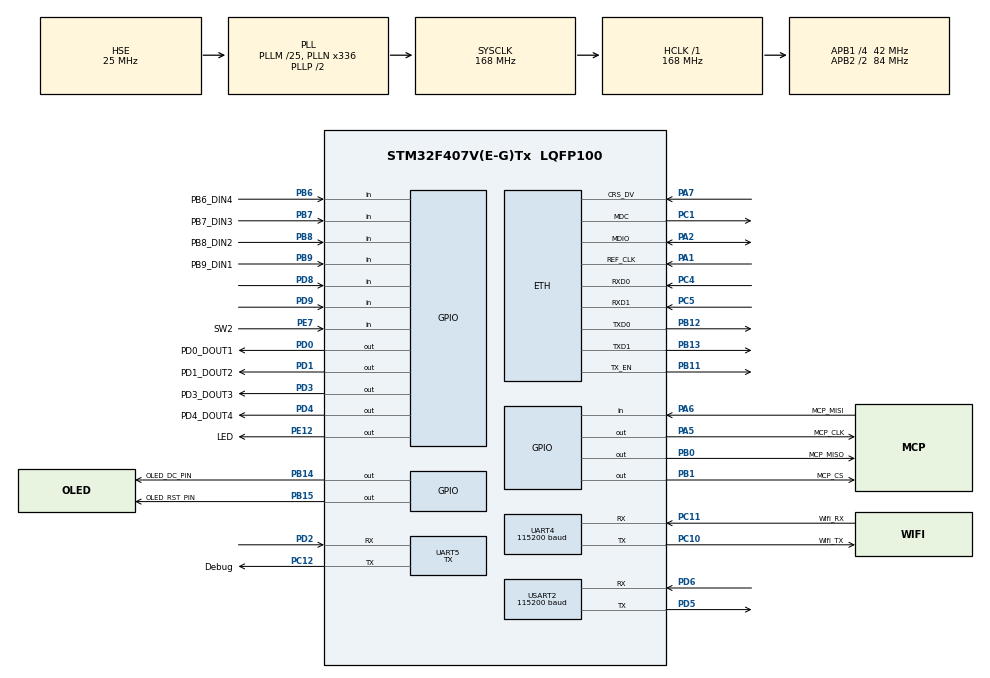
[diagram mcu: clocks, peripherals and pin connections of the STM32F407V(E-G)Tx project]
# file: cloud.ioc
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Dma.Request0=UART4_RX
Dma.Request1=USART2_RX
Dma.UART4_RX.0.Direction=DMA_PERIPH_TO_MEMORY
Dma.UART4_RX.0.FIFOMode=DMA_FIFOMODE_DISABLE
Dma.UART4_RX.0.Instance=DMA1_Stream2
Dma.UART4_RX.0.MemDataAlignment=DMA_MDATAALIGN_BYTE
Dma.UART4_RX.0.MemInc=DMA_MINC_ENABLE
Dma.UART4_RX.0.Mode=DMA_NORMAL
Dma.UART4_RX.0.PeriphDataAlignment=DMA_PDATAALIGN_BYTE
Dma.UART4_RX.0.PeriphInc=DMA_PINC_DISABLE
Dma.UART4_RX.0.Priority=DMA_PRIORITY_LOW
Dma.USART2_RX.1.Direction=DMA_PERIPH_TO_MEMORY
Dma.USART2_RX.1.FIFOMode=DMA_FIFOMODE_DISABLE
Dma.USART2_RX.1.Instance=DMA1_Stream5
Dma.USART2_RX.1.MemDataAlignment=DMA_MDATAALIGN_BYTE
Dma.USART2_RX.1.MemInc=DMA_MINC_ENABLE
Dma.USART2_RX.1.Mode=DMA_NORMAL
Dma.USART2_RX.1.PeriphDataAlignment=DMA_PDATAALIGN_BYTE
Dma.USART2_RX.1.PeriphInc=DMA_PINC_DISABLE
Dma.USART2_RX.1.Priority=DMA_PRIORITY_LOW
ETH.MediaInterface=ETH_MEDIA_INTERFACE_RMII
ETH.PHY_Name_RMII=DP83848_PHY_ADDRESS
ETH.PHY_READ_TO=0x0FFFFFFF
ETH.PHY_WRITE_TO=0x0FFFFFFF
ETH.RxMode=ETH_RXINTERRUPT_MODE
FREERTOS.Tasks01=startupTask,8,2256,StartupTask,Default,NULL,Dynamic,NULL,NULL
FREERTOS.configTOTAL_HEAP_SIZE=0xC100
FREERTOS.configUSE_IDLE_HOOK=1
FREERTOS.configUSE_NEWLIB_REENTRANT=1
FREERTOS.configUSE_TICK_HOOK=1
IWDG.Prescaler=IWDG_PRESCALER_256
LWIP.GATEWAY_ADDRESS=192.168.003.001
LWIP.IP_ADDRESS=192.168.003.110
LWIP.LWIP_DHCP=0
LWIP.LWIP_NETIF_EXT_STATUS_CALLBACK=0
LWIP.LWIP_NETIF_LOOPBACK=1
LWIP.LWIP_NETIF_STATUS_CALLBACK=0
LWIP.NETMASK_ADDRESS=255.255.255.000
LWIP.Version=v2.1.2_Cube
Mcu.Family=STM32F4
Mcu.Name=STM32F407V(E-G)Tx
Mcu.Package=LQFP100
NVIC.DMA1_Stream2_IRQn=true\:5\:0\:false\:false\:true\:true\:false\:true
NVIC.DMA1_Stream5_IRQn=true\:5\:0\:false\:false\:true\:true\:false\:true
NVIC.ETH_IRQn=true\:5\:0\:false\:false\:true\:true\:false\:true
NVIC.PriorityGroup=NVIC_PRIORITYGROUP_4
NVIC.TIM1_UP_TIM10_IRQn=true\:0\:0\:false\:false\:true\:false\:false\:true
NVIC.TIM4_IRQn=true\:5\:0\:false\:false\:true\:true\:true\:true
NVIC.TIM7_IRQn=true\:5\:0\:false\:false\:true\:true\:true\:true
NVIC.TimeBase=TIM1_UP_TIM10_IRQn
NVIC.TimeBaseIP=TIM1
NVIC.UART4_IRQn=true\:5\:0\:true\:false\:true\:true\:true\:false
NVIC.USART2_IRQn=true\:5\:0\:false\:false\:true\:true\:true\:true
PA1.Mode=RMII
PA1.Signal=ETH_REF_CLK
PA13.Mode=Serial_Wire
PA13.Signal=SYS_JTMS-SWDIO
PA14.Mode=Serial_Wire
PA14.Signal=SYS_JTCK-SWCLK
PA2.Mode=RMII
PA2.Signal=ETH_MDIO
PA5.GPIO_Label=MCP_CLK
PA5.Signal=GPIO_Output
PA6.GPIO_Label=MCP_MISI
PA6.Signal=GPIO_Input
PA7.Mode=RMII
PA7.Signal=ETH_CRS_DV
PB0.GPIO_Label=MCP_MISO
PB0.Signal=GPIO_Output
PB1.GPIO_Label=MCP_CS
PB1.Signal=GPIO_Output
PB11.Mode=RMII
PB11.Signal=ETH_TX_EN
PB12.Mode=RMII
PB12.Signal=ETH_TXD0
PB13.Mode=RMII
PB13.Signal=ETH_TXD1
PB14.GPIO_Label=OLED_DC_PIN
PB14.Signal=GPIO_Output
PB15.GPIO_Label=OLED_RST_PIN
PB15.Signal=GPIO_Output
PB6.GPIO_Label=PB6_DIN4
PB6.Signal=GPIO_Input
PB7.GPIO_Label=PB7_DIN3
PB7.Signal=GPIO_Input
PB8.GPIO_Label=PB8_DIN2
PB8.Signal=GPIO_Input
PB9.GPIO_Label=PB9_DIN1
PB9.Signal=GPIO_Input
PC1.Mode=RMII
PC1.Signal=ETH_MDC
PC10.GPIO_Label=Wifi_TX
PC10.Mode=Asynchronous
PC10.Signal=UART4_TX
PC11.GPIO_Label=Wifi_RX
PC11.Mode=Asynchronous
PC11.Signal=UART4_RX
PC12.GPIO_Label=Debug
PC12.Mode=Asynchronous
PC12.Signal=UART5_TX
PC14-OSC32_IN.Mode=LSE-External-Oscillator
PC14-OSC32_IN.Signal=RCC_OSC32_IN
PC15-OSC32_OUT.Mode=LSE-External-Oscillator
PC15-OSC32_OUT.Signal=RCC_OSC32_OUT
PC4.Mode=RMII
PC4.Signal=ETH_RXD0
PC5.Mode=RMII
PC5.Signal=ETH_RXD1
PD0.GPIO_Label=PD0_DOUT1
PD0.GPIO_PuPd=GPIO_PULLDOWN
PD0.PinState=GPIO_PIN_SET
PD0.Signal=GPIO_Output
PD1.GPIO_Label=PD1_DOUT2
PD1.GPIO_PuPd=GPIO_PULLDOWN
PD1.PinState=GPIO_PIN_SET
PD1.Signal=GPIO_Output
PD2.Mode=Asynchronous
PD2.Signal=UART5_RX
PD3.GPIO_Label=PD3_DOUT3
PD3.GPIO_PuPd=GPIO_PULLDOWN
PD3.PinState=GPIO_PIN_SET
PD3.Signal=GPIO_Output
PD4.GPIO_Label=PD4_DOUT4
PD4.GPIO_PuPd=GPIO_PULLDOWN
PD4.PinState=GPIO_PIN_SET
PD4.Signal=GPIO_Output
PD5.GPIO_PuPd=GPIO_NOPULL
PD5.Mode=Asynchronous
PD5.Signal=USART2_TX
PD6.GPIO_PuPd=GPIO_NOPULL
PD6.Mode=Asynchronous
PD6.Signal=USART2_RX
PD8.GPIO_Mode=GPIO_MODE_INPUT
PD8.Signal=GPIO_Input
PD9.GPIO_Mode=GPIO_MODE_INPUT
PD9.Signal=GPIO_Input
PE12.GPIO_Label=LED
PE12.PinState=GPIO_PIN_SET
PE12.Signal=GPIO_Output
PE7.GPIO_Label=SW2
PE7.GPIO_PuPd=GPIO_PULLUP
PE7.Signal=GPIO_Input
PH0-OSC_IN.Mode=HSE-External-Oscillator
PH0-OSC_IN.Signal=RCC_OSC_IN
PH1-OSC_OUT.Mode=HSE-External-Oscillator
PH1-OSC_OUT.Signal=RCC_OSC_OUT
ProjectManager.HeapSize=0x400
ProjectManager.StackSize=0x600
ProjectManager.TargetToolchain=STM32CubeIDE
RCC.48MHZClocksFreq_Value=84000000
RCC.AHBFreq_Value=168000000
RCC.APB1CLKDivider=RCC_HCLK_DIV4
RCC.APB1Freq_Value=42000000
RCC.APB1TimFreq_Value=84000000
RCC.APB2CLKDivider=RCC_HCLK_DIV2
RCC.APB2Freq_Value=84000000
RCC.APB2TimFreq_Value=168000000
RCC.CortexFreq_Value=168000000
RCC.EnbaleCSS=true
RCC.HCLKFreq_Value=168000000
RCC.HSE_VALUE=25000000
RCC.HSI_VALUE=16000000
RCC.PLLM=25
RCC.PLLN=336
RCC.PLLSourceVirtual=RCC_PLLSOURCE_HSE
RCC.RCC_RTC_Clock_SourceVirtual=RCC_RTCCLKSOURCE_LSE
RCC.SYSCLKFreq_VALUE=168000000
RCC.SYSCLKSource=RCC_SYSCLKSOURCE_PLLCLK
RCC.VCOOutputFreq_Value=336000000
RTC.Date=28
RTC.Format=RTC_FORMAT_BCD
RTC.Hours=9
RTC.Minutes=44
RTC.Month=RTC_MONTH_OCTOBER
RTC.StoreOperation=RTC_STOREOPERATION_SET
RTC.WeekDay=RTC_WEEKDAY_THURSDAY
RTC.Year=21
TIM4.AutoReloadPreload=TIM_AUTORELOAD_PRELOAD_ENABLE
TIM4.Period=199
TIM4.Prescaler=8399
TIM7.Period=999
TIM7.Prescaler=8399
UART4.BaudRate=115200
UART4.VirtualMode=Asynchronous
UART5.Mode=MODE_TX
UART5.VirtualMode=Asynchronous
USART2.BaudRate=115200
USART2.VirtualMode=VM_ASYNC
VP_FREERTOS_VS_CMSIS_V2.Mode=CMSIS_V2
VP_IWDG_VS_IWDG.Mode=IWDG_Activate
VP_LWIP_VS_Enabled.Mode=Enabled
VP_RTC_VS_RTC_Activate.Mode=RTC_Enabled
VP_RTC_VS_RTC_Calendar.Mode=RTC_Calendar
VP_SYS_VS_tim1.Mode=TIM1
VP_TIM4_VS_ClockSourceINT.Mode=Internal
VP_TIM7_VS_ClockSourceINT.Mode=Enable_Timer
board=custom

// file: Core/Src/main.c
/* USER CODE BEGIN Header */
/**
  ******************************************************************************
  * @file           : main.c
  * @brief          : Main program body
  ******************************************************************************
  * @attention
  *
  * <h2><center>&copy; Copyright (c) 2021 STMicroelectronics.
  * All rights reserved.</center></h2>
  *
  * This software component is licensed by ST under BSD 3-Clause license,
  * the "License"; You may not use this file except in compliance with the
  * License. You may obtain a copy of the License at:
  *                        opensource.org/licenses/BSD-3-Clause
  *
  ******************************************************************************
  */
/* USER CODE END Header */
#include "main.h"
#include "cmsis_os.h"
#include "dma.h"
#include "iwdg.h"
#include "lwip.h"
#include "rtc.h"
#include "tim.h"
#include "usart.h"
#include "gpio.h"

/* USER CODE BEGIN Includes */
#include "boardConfig.h"
#include "dataCollector.h"
#include <string.h>
#include "flash.h"
#include "FreeRTOS.h"
#include "task.h"
#include "semphr.h"
#include "sd2078.h"
/* USER CODE END Includes */

/* USER CODE BEGIN PV */
char   log_msg_global[256];         //存放log信息的全�???????????????????????????数组
char speed_value[4];
int rs485_rec_flag;
extern SemaphoreHandle_t  xUploadLogSemaphore;

/* USER CODE END PV */

void SystemClock_Config(void);
void MX_FREERTOS_Init(void);

int main(void)
{

  /* MCU Configuration--------------------------------------------------------*/

  /* Reset of all peripherals, Initializes the Flash interface and the Systick. */
  HAL_Init();

  /* Configure the system clock */
  SystemClock_Config();

  /* USER CODE BEGIN SysInit */
  MX_DMA_Init();  //在串口之后初始化会接收失�???????????????????????
  /* USER CODE END SysInit */

  /* Initialize all configured peripherals */
  MX_GPIO_Init();
  MX_UART5_Init();
  MX_RTC_Init();
  MX_TIM4_Init();
  MX_UART4_Init();
  MX_USART2_UART_Init();
  MX_DMA_Init();
  MX_TIM7_Init();
  /* USER CODE BEGIN 2 */
  if (isFirstBoot())
  {
	LoadDefaultConfig();
  }
  /* USER CODE END 2 */

  /* Init scheduler */
  osKernelInitialize();  /* Call init function for freertos objects (in freertos.c) */
  MX_FREERTOS_Init();
  /* Start scheduler */
  osKernelStart();

  /* We should never get here as control is now taken by the scheduler */
  /* Infinite loop */
  while (1)
  {

  }
}

void SystemClock_Config(void)
{
  RCC_OscInitTypeDef RCC_OscInitStruct = {0};
  RCC_ClkInitTypeDef RCC_ClkInitStruct = {0};

  /** Configure the main internal regulator output voltage
  */
  __HAL_RCC_PWR_CLK_ENABLE();
  __HAL_PWR_VOLTAGESCALING_CONFIG(PWR_REGULATOR_VOLTAGE_SCALE1);
  /** Initializes the RCC Oscillators according to the specified parameters
  * in the RCC_OscInitTypeDef structure.
  */
  RCC_OscInitStruct.OscillatorType = RCC_OSCILLATORTYPE_LSI|RCC_OSCILLATORTYPE_HSE
                              |RCC_OSCILLATORTYPE_LSE;
  RCC_OscInitStruct.HSEState = RCC_HSE_ON;
  RCC_OscInitStruct.LSEState = RCC_LSE_ON;
  RCC_OscInitStruct.LSIState = RCC_LSI_ON;
  RCC_OscInitStruct.PLL.PLLState = RCC_PLL_ON;
  RCC_OscInitStruct.PLL.PLLSource = RCC_PLLSOURCE_HSE;
  RCC_OscInitStruct.PLL.PLLM = 25;
  RCC_OscInitStruct.PLL.PLLN = 336;
  RCC_OscInitStruct.PLL.PLLP = RCC_PLLP_DIV2;
  RCC_OscInitStruct.PLL.PLLQ = 4;
  if (HAL_RCC_OscConfig(&RCC_OscInitStruct) != HAL_OK)
  {
    Error_Handler();
  }
  /** Initializes the CPU, AHB and APB buses clocks
  */
  RCC_ClkInitStruct.ClockType = RCC_CLOCKTYPE_HCLK|RCC_CLOCKTYPE_SYSCLK
                              |RCC_CLOCKTYPE_PCLK1|RCC_CLOCKTYPE_PCLK2;
  RCC_ClkInitStruct.SYSCLKSource = RCC_SYSCLKSOURCE_PLLCLK;
  RCC_ClkInitStruct.AHBCLKDivider = RCC_SYSCLK_DIV1;
  RCC_ClkInitStruct.APB1CLKDivider = RCC_HCLK_DIV4;
  RCC_ClkInitStruct.APB2CLKDivider = RCC_HCLK_DIV2;

  if (HAL_RCC_ClockConfig(&RCC_ClkInitStruct, FLASH_LATENCY_5) != HAL_OK)
  {
    Error_Handler();
  }
  /** Enables the Clock Security System
  */
  HAL_RCC_EnableCSS();
}

/* USER CODE BEGIN 4 */

void printfInfo(void)
{
	printf("mac:%s\r\n", config.mac_info.mac_name);
	printf("serverip:%d.%d.%d.%d	port:%d\r\n", config.server_ip.ip_cfg[0],
												  config.server_ip.ip_cfg[1],
												  config.server_ip.ip_cfg[2],
												  config.server_ip.ip_cfg[3],
												  config.server_ip.server_port_cfg);
	printf("A10 range: %lf   A10 type: %d\r\n", config.analog_info.a10_range, config.analog_info.a10_type);
	printf("A11 range: %lf   A11 type: %d\r\n", config.analog_info.a11_range, config.analog_info.a11_type);
	printf("A20 range: %lf   A20 type: %d\r\n", config.analog_info.a20_range, config.analog_info.a20_type);
	printf("A21 range: %lf   A21 type: %d\r\n", config.analog_info.a21_range, config.analog_info.a21_type);

	printf("A30 range: %lf   A30 type: %d\r\n", config.analog_info.a30_range, config.analog_info.a30_type);
	printf("A31 range: %lf   A31 type: %d\r\n", config.analog_info.a31_range, config.analog_info.a31_type);
	printf("A40 range: %lf   A40 type: %d\r\n", config.analog_info.a40_range, config.analog_info.a40_type);
	printf("A41 range: %lf   A41 type: %d\r\n", config.analog_info.a41_range, config.analog_info.a41_type);
}

/* USER CODE END 4 */

void HAL_TIM_PeriodElapsedCallback(TIM_HandleTypeDef *htim)
{
  /* USER CODE BEGIN Callback 0 */
//	static uint8_t s_count;
  static uint8_t ucLocalTickCount = 0;
  static BaseType_t xHigherPriorityTaskWoken;
  uint8_t Tx_buf[8] = {0x55,0x06,0x00,0x00,0x00,0x00,0x88,0xAA};
  /* USER CODE END Callback 0 */
  if (htim->Instance == TIM1) {
    HAL_IncTick();
  }
  /* USER CODE BEGIN Callback 1 */
  if (htim->Instance == TIM4)
  {
    collectDataHandler();
  }

  if (htim->Instance == TIM7)
  {
    if (ucLocalTickCount++ >= 40)
    {
	  //该上传一次日志了
	  xSemaphoreGiveFromISR(xUploadLogSemaphore, &xHigherPriorityTaskWoken);
	  ucLocalTickCount = 0;
	}
  }
  /* USER CODE END Callback 1 */
}

void Error_Handler(void)
{
  __disable_irq();
  while (1)
  {
  }
}

/************************ (C) COPYRIGHT STMicroelectronics *****END OF FILE****/

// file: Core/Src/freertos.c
/* USER CODE BEGIN Header */
/**
  ******************************************************************************
  * File Name          : freertos.c
  * Description        : Code for freertos applications
  ******************************************************************************
  * @attention
  *
  * <h2><center>&copy; Copyright (c) 2021 STMicroelectronics.
  * All rights reserved.</center></h2>
  *
  * This software component is licensed by ST under Ultimate Liberty license
  * SLA0044, the "License"; You may not use this file except in compliance with
  * the License. You may obtain a copy of the License at:
  *                             www.st.com/SLA0044
  *
  ******************************************************************************
  */
/* USER CODE END Header */

#include "FreeRTOS.h"
#include "task.h"
#include "main.h"
#include "cmsis_os.h"

/* USER CODE BEGIN Includes */
#include <stdio.h>
#include "task.h"
#include "queue.h"
#include "tim.h"
#include "oled.h"
#include "MCP3208.h"
#include "rtc.h"
#include "usart.h"
#include "semphr.h"
#include "boardConfig.h"
#include "display.h"
#include "rs485.h"
#include "tcpServer.h"
#include "cJSON.h"
#include "ring_fifo.h"
#include "DigitIO.h"
#include "logQueue.h"
#include <string.h>
#include "sd2078.h"
#include "cpu_utils.h"
#include "flash.h"
#include "Temperature.h"
/* USER CODE END Includes */

/* USER CODE BEGIN PD */
#define CONFIG_KEY_DOWN()                    !HAL_GPIO_ReadPin(GPIOE, GPIO_PIN_7)
#define CONFIG_KEY_UP()                       HAL_GPIO_ReadPin(GPIOE, GPIO_PIN_7)

/* USER CODE END PD */

/* USER CODE BEGIN Variables */

DEVICE_CONFIG  config;

TaskHandle_t   setZeroTaskHandle;
TaskHandle_t   logUploadTaskHandle;       //日志任务句柄
TaskHandle_t   daemonTaskHandle;          // led任务句柄
TaskHandle_t   tcpServerTaskHandle;       //modbus tcp 任务句柄
TaskHandle_t   wifiClientTaskHandle;
TaskHandle_t   rs485TaskHandle;           //rs485任务句柄
TaskHandle_t   taskHeapDetectTaskHandle;  //

extern      uint8_t        config_buff[100];

/* USER CODE END Variables */
/* Definitions for startupTask */
osThreadId_t startupTaskHandle;
const osThreadAttr_t startupTask_attributes = {
  .name = "startupTask",
  .stack_size = 2256 * 4,
  .priority = (osPriority_t) osPriorityLow,
};

/* USER CODE BEGIN FunctionPrototypes */

void daemonTask(void *pvParameters);
void taskHeapDetectTask(void *pvParameters);

/* USER CODE END FunctionPrototypes */

void StartupTask(void *argument);

extern void MX_LWIP_Init(void);
void MX_FREERTOS_Init(void); /* (MISRA C 2004 rule 8.1) */

/* Hook prototypes */
void vApplicationIdleHook(void);
void vApplicationTickHook(void);

void MX_FREERTOS_Init(void) {

  /* Create the thread(s) */
  /* creation of startupTask */
  startupTaskHandle = osThreadNew(StartupTask, NULL, &startupTask_attributes);

}

/* USER CODE BEGIN Header_StartupTask */
static unsigned char isConfigMode(void)
{
	char i=0;
	while(CONFIG_KEY_DOWN())
	{
		vTaskDelay(pdMS_TO_TICKS(100));//100ms
		if(++i > 20)return 1;
	}
	return 0;
}

static void configMode()
{
	if (isConfigMode())
	{
		printf("---------------------------------------\r\n");
		printf("config mode: \r\n1.Please use usb2ttl tool, send config to uart4, Baud rate is 115200bit/s\r\n");
		printf("example:\r\n");
		printf("set eth send:\r\n{\"IP:192.168.1.49;PORT:502;NETMASK:255.255.255.0;GATEWAY:192.168.1.1;\"}\r\n");
		printf("set wifi send:\r\n{\"wifi_ip:192.168.1.110;wifi_sip:192.168.1.101;wifi_port:4110;\"}\r\n");
		printf("set analog A10 send:\r\n{\"A10 range:500;A10 type:0\"}\r\n");
		printf("set analog A11 send:\r\n{\"A11 range:400;A11 type:0\"}\r\n");
		printf("set analog A20 send:\r\n{\"A20 range:300;A20 type:0\"}\r\n");
		printf("set analog A21 send:\r\n{\"A21 range:200;A21 type:0\"}\r\n");
		printf("set analog A30 send:\r\n{\"A30 range:100;A30 type:0\"}\r\n");
		printf("set analog A31 send:\r\n{\"A31 range:90;A31 type:0\"}\r\n");
		printf("set analog A40 send:\r\n{\"A40 range:80;A40 type:0\"}\r\n");
		printf("set analog A41 send:\r\n{\"A41 range:70;A41 type:0\"}\r\n");

		while(1)
		{
	        if(uart4_recv_end_flag ==1)                                           //uart4_recv_end_flag 结束标志
	        {
				printf("uart4_rx_len = %d\r\n",uart4_rx_len);                    //uart4_rx_len 此次接收到了多少数据

				configRecv(uart4_rx_buffer, uart4_rx_len);
				configHandler(config_buff);
				uart4_rx_len=0;
				uart4_recv_end_flag=0;
				HAL_UART_Receive_DMA(&huart4, uart4_rx_buffer, UART4_BUF_SIZE);//这句放if里面还是外面�??????????
	        }
		}
	}
}

/**
  * @brief  Function implementing the startupTask thread.
  * @param  argument: Not used
  * @retval None
  */
/* USER CODE END Header_StartupTask */
void StartupTask(void *argument)
{
  /* init code for LWIP */
  MX_LWIP_Init();
  /* USER CODE BEGIN StartupTask */
    BaseType_t  ret;

    initLogQueue();

    init_iic();

    initMCP();

    USER_RTC_Init();

#if LOG_PRINTF_DEF
    LogPrint("StartupTask start");
#else
    printf("StartupTask start\r\n");
#endif

    initMachineStatus(readConfig());

  	//write config or not;
    configMode();

	ret = xTaskCreate(setZeroTask, "setZeroTask", 512, NULL, 3, &setZeroTaskHandle);
	if (ret != pdTRUE)
	{
#if LOG_PRINTF_DEF
		LogPrint("setZeroTask create err\r\n");
#else
		printf("setZeroTask create err\r\n");
#endif
	}

	ret = xTaskCreate(logUploadTask, "logUploadTask", 512, NULL, 10, &logUploadTaskHandle);
	if (ret != pdTRUE)
	{
#if LOG_PRINTF_DEF
		LogPrint("logUploadTask create err\r\n");
#else
		printf("logUploadTask create err\r\n");
#endif
	}

	ret = xTaskCreate(daemonTask, "daemonTask", 512, NULL, 2, &daemonTaskHandle);
	if (ret != pdTRUE)
	{
#if LOG_PRINTF_DEF
		LogPrint("daemonTask create err");
#else
		printf("daemonTask create err\r\n");
#endif
	}

	ret = xTaskCreate(tcpServerTask, "tcpServerTask", 512, NULL, 7, &tcpServerTaskHandle);
	if (ret != pdTRUE)
	{
#if LOG_PRINTF_DEF
		LogPrint("tcpServerTask create err");
#else
		printf("tcpServerTask create err\r\n");
#endif
	}

	ret = xTaskCreate(wifiClientTask, "wifiClientTask", 512, NULL, 6, &wifiClientTaskHandle);
	if (ret != pdTRUE)
	{
#if LOG_PRINTF_DEF
		LogPrint("wifiClientTask create err");
#else
		printf("wifiClientTask create err\r\n");
#endif
	}

	ret = xTaskCreate(rs485DataHandler, "rs485DataHandler", 512, NULL, 3, &rs485TaskHandle);
	if (ret != pdTRUE)
	{
#if LOG_PRINTF_DEF
		LogPrint("rs485DataHandler task create err");
#else
		printf("rs485DataHandler task create err\r\n");
#endif
	}

	ret = xTaskCreate( taskHeapDetectTask, "taskHeapDetectTask", 512, NULL, 7, &taskHeapDetectTaskHandle);
	if (ret != pdTRUE)
	{
#if LOG_PRINTF_DEF
		LogPrint("taskHeapDetectTask create err");
#else
		printf("taskHeapDetectTask create err\r\n");
#endif
	}

  /* Infinite loop */

#if LOG_PRINTF_DEF
	LogPrint("StartupTask exit");
#else
	printf("StartupTask exit\r\n");
#endif

    osThreadExit();
  /* USER CODE END StartupTask */
}

/* USER CODE BEGIN Application */
#include "delay.h"
void daemonTask(void *pvParameters)
{
	static char cnt;

#if LOG_PRINTF_DEF
	LogPrint("daemonTask start");
#else
	printf("daemonTask start\r\n");
#endif

	while (1)
	{
		HAL_GPIO_TogglePin(GPIOE, GPIO_PIN_12);
		vTaskDelay(5000);

		if (cnt++ > 10)
		{
			cnt = 0;
			LogPrint("----daemonTask----");
		}

	}
	printf("daemonTask exit\r\n");
	vTaskDelete(NULL);
}

#define TASK_NUM 5
typedef struct{
	const char *   task_name;
	TaskHandle_t   task_handler;
}TASK_HANDLER_TAP;

//   logUploadTaskHandle;       //日志任务句柄
//   daemonTaskHandle;          // led任务句柄
//   tcpServerTaskHandle;       //modbus tcp 任务句柄
//   rs485TaskHandle;           //rs485任务句柄
void taskHeapDetectTask(void *pvParameters)
{
#if 0
	unsigned char i = 0;
	TASK_HANDLER_TAP task_handler_tap [TASK_NUM] = {
//			{"setZeroTask",        setZeroTaskHandle},
			{"logUploadTask",      logUploadTaskHandle},
			{"daemonTask",         daemonTaskHandle},
			{"tcpServerTask",      tcpServerTaskHandle},
			{"rs485Task",          rs485TaskHandle},
			{"taskHeapDetectTask", taskHeapDetectTaskHandle},
	};

	UBaseType_t task_surplus_heap = 0;
	size_t task_free_heap = 0;
//	uint16_t os_usage = 0;

#if LOG_PRINTF_DEF
	LogPrint("taskHeapDetectTask start");
#else
	printf("taskHeapDetectTask start\r\n");
#endif

	while (1)
	{
		for (i = 0; i < TASK_NUM; i++)
		{
			task_surplus_heap = uxTaskGetStackHighWaterMark(task_handler_tap[i].task_handler);
			task_free_heap    = xPortGetFreeHeapSize();
#if LOG_PRINTF_DEF

//			os_usage = osGetCPUUsage();
//			printf("RTOS CPU usage: %d%%\r\n",os_usage);

			//rtos 空闲�?????????
			snprintf(log_msg_global, sizeof(log_msg_global), "RTOS free heap: %d bytes", task_free_heap);
			LogPrint(log_msg_global);

			//各个任务空闲�?????????
			snprintf(log_msg_global, sizeof(log_msg_global), "task[%s] surplus heap: %ld bytes", task_handler_tap[i].task_name, task_surplus_heap*4);
			LogPrint(log_msg_global);
#else
			printf("task[%s] surplus heap:%d bytes\r\n", task_handler_tap[i].task_name, task_surplus_heap*4);
#endif
			vTaskDelay(1000);
		}
	}
	printf("taskHeapDetectTask exit\r\n");
	vTaskDelete(NULL);
#else
	unsigned char i = 0;
	UBaseType_t task_surplus_heap = 0;
	size_t task_free_heap = 0;
#if LOG_PRINTF_DEF
	LogPrint("taskHeapDetectTask start");
#else
	printf("taskHeapDetectTask start\r\n");
#endif

	while (1)
	{
		printf("--------------------------------------------------------\r\n");
		task_free_heap    = xPortGetFreeHeapSize();
		snprintf(log_msg_global, sizeof(log_msg_global), "RTOS free heap: %d bytes", task_free_heap);
		LogPrint(log_msg_global);

		task_surplus_heap = uxTaskGetStackHighWaterMark(setZeroTaskHandle);
		snprintf(log_msg_global, sizeof(log_msg_global), "task[%s] surplus heap: %ld bytes", "setZeroTask", task_surplus_heap*4);
		LogPrint(log_msg_global);

		task_surplus_heap = uxTaskGetStackHighWaterMark(logUploadTaskHandle);
		snprintf(log_msg_global, sizeof(log_msg_global), "task[%s]: surplus heap: %ld bytes", "logUploadTask", task_surplus_heap*4);
		LogPrint(log_msg_global);

		task_surplus_heap = uxTaskGetStackHighWaterMark(daemonTaskHandle);
		snprintf(log_msg_global, sizeof(log_msg_global), "task[%s]: surplus heap: %ld bytes", "daemonTask", task_surplus_heap*4);
		LogPrint(log_msg_global);

		task_surplus_heap = uxTaskGetStackHighWaterMark(tcpServerTaskHandle);
		snprintf(log_msg_global, sizeof(log_msg_global), "task[%s]: surplus heap: %ld bytes", "tcpServerTask", task_surplus_heap*4);
		LogPrint(log_msg_global);

		task_surplus_heap = uxTaskGetStackHighWaterMark(wifiClientTaskHandle);
		snprintf(log_msg_global, sizeof(log_msg_global), "task[%s]: surplus heap: %ld bytes", "wifiClientTask", task_surplus_heap*4);
		LogPrint(log_msg_global);

		task_surplus_heap = uxTaskGetStackHighWaterMark(rs485TaskHandle);
		snprintf(log_msg_global, sizeof(log_msg_global), "task[%s]: surplus heap: %ld bytes", "rs485Task", task_surplus_heap*4);
		LogPrint(log_msg_global);

		task_surplus_heap = uxTaskGetStackHighWaterMark(taskHeapDetectTaskHandle);
		snprintf(log_msg_global, sizeof(log_msg_global), "task[%s]: surplus heap: %ld bytes", "taskHeapDetectTask", task_surplus_heap*4);
		LogPrint(log_msg_global);

		printf("Temperature:[%lf]\n\r",Tem.My_Temperature);

		printf("--------------------------------------------------------\r\n");

		for (i = 0; i < 5; i++)
		{
			vTaskDelay(10000);
		}
	}

	printf("taskHeapDetectTask exit\r\n");
	vTaskDelete(NULL);
#endif
}
/* USER CODE END Application */

/************************ (C) COPYRIGHT STMicroelectronics *****END OF FILE****/
